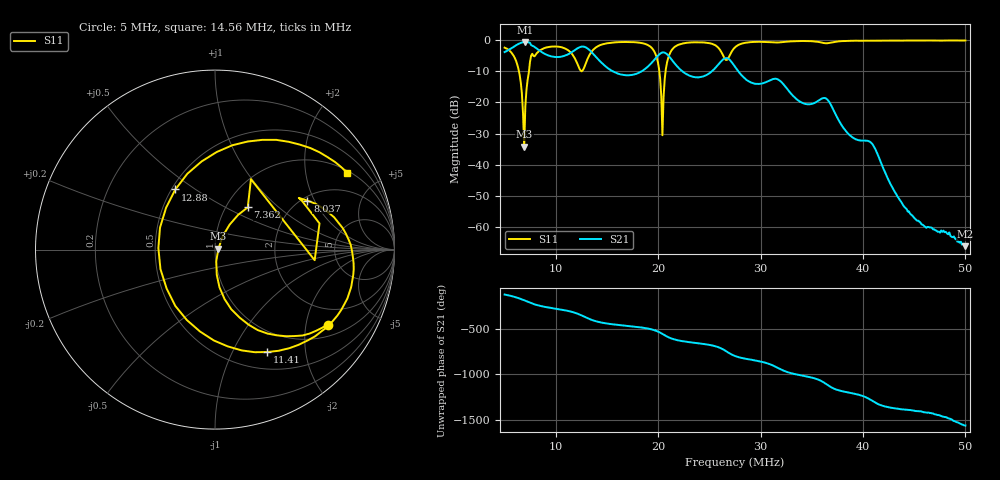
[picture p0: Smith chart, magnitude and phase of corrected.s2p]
! S11/S21 only; reverse parameters are placeholders. Device calibration unverified.
! [Saver CAL applied] C:\Users\aknya\MyProjects\rf-simulator\calibration2.cal | Ideal standards assumed | Input: NanoVNA F V2 profile | COM3 | 2026-09-08T11:30:13.9226895-04:00 | device calibration unverified
# HZ S RI R 50
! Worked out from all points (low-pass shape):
!   401 points, 5 MHz to 50 MHz, reference 50 ohm
!   highest |S21| = -0.64 dB at 7.025 MHz (marker M1); lowest = -66.0 dB at 50 MHz (marker M2)
!   |S21| within 3 dB of the highest: 5.15 MHz to 8.514 MHz (3.364 MHz wide, 49.2 % of centre); 11.68 MHz to 13.42 MHz (1.734 MHz wide, 13.8 % of centre)
!   lowest |S11| = -34.1 dB at 6.912 MHz (marker M3), VSWR 1.04, Z = 51.9 + j0.566 ohm
!   |S11| at or under -10 dB: 6.397 MHz to 7.379 MHz (982.7 kHz wide, 14.3 % of centre); 12.52757 MHz to 12.54262 MHz (15.04 kHz wide, 0.12 % of centre); 20.11 MHz to 20.72 MHz (616.3 kHz wide, 3.02 % of centre)
!   S12 and S22 are empty: the file has one direction only
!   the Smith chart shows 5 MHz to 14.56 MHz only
!   S11 on the Smith chart (normalised r, x): 5 MHz: 1.38, -2.67; 7.362 MHz: 1.26, +0.65; 8.037 MHz: 2.13, +1.76; 11.41 MHz: 0.71, -1.38; 12.88 MHz: 0.52, +0.42; 14.56 MHz: 1.10, +3.41
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5000000  0.6276 -0.4178  -0.3452 -0.5384  0 0  0 0
6125000  0.1882 -0.419  -0.7363 -0.3661  0 0  0 0
6912500  0.0189 0.00545  -0.922 0.0925  0 0  0 0
7025000  0.0436 0.0759  -0.913 0.1737  0 0  0 0
7362500  0.1825 0.2358  -0.8195 0.3967  0 0  0 0
8037500  0.5148 0.273  -0.4376 0.6083  0 0  0 0
9837500  0.7587 -0.2087  0.0541 0.5341  0 0  0 0
1.14125e7  0.2904 -0.5709  0.3815 0.485  0 0  0 0
1.25375e7  -0.3155 0.00855  0.7771 0.0941  0 0  0 0
1.2875e7  -0.221 0.335  0.7535 -0.1489  0 0  0 0
1.45625e7  0.7378 0.4259  0.1227 -0.3991  0 0  0 0
1.805e7  0.8428 -0.3422  -0.149 -0.2556  0 0  0 0
2.0075e7  0.0217 -0.3501  -0.5793 -0.0556  0 0  0 0
2.04125e7  -0.0292 0.00628  -0.6089 0.1637  0 0  0 0
2.10875e7  0.4614 0.3535  -0.3015 0.4463  0 0  0 0
2.255e7  0.8882 -0.0133  0.0413 0.2958  0 0  0 0
2.5475e7  0.6945 -0.4683  0.2879 0.1856  0 0  0 0
2.75e7  0.7532 -0.1073  0.0792 -0.3633  0 0  0 0
3.50375e7  0.658 -0.692  0.0686 0.0663  0 0  0 0
4.0775e7  0.5046 -0.8324  -0.0213 0.00847  0 0  0 0
4.2575e7  0.4427 -0.8721  0.00119 0.00526  0 0  0 0
5e7  0.1566 -0.9678  -0.000255 -0.000433  0 0  0 0
